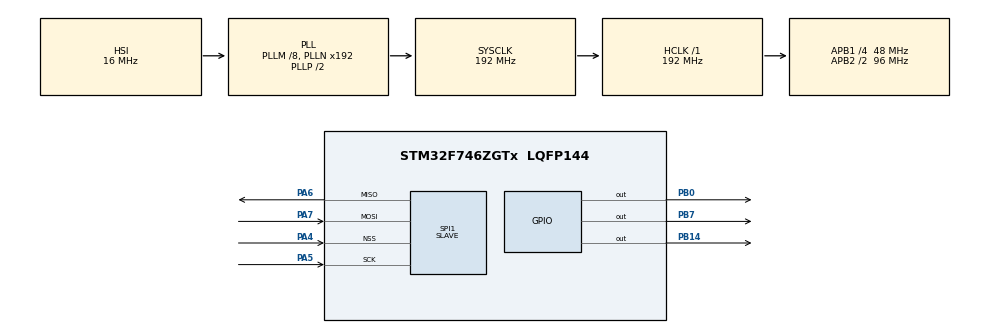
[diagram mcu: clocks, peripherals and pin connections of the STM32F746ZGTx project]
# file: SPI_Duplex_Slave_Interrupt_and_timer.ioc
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Mcu.Family=STM32F7
PA6.Mode=Full_Duplex_Slave
RCC.CortexFreq_Value=192000000
PA7.Mode=Full_Duplex_Slave
SPI1.VirtualType=VM_SLAVE
TIM1.Channel-Output\ Compare1\ No\ Output=TIM_CHANNEL_1
SPI1.CLKPhase=SPI_PHASE_2EDGE
RCC.APB1CLKDivider=RCC_HCLK_DIV4
RCC.SYSCLKSource=RCC_SYSCLKSOURCE_PLLCLK
ProjectManager.StackSize=0x400
VP_TIM1_VS_no_output1.Mode=Output Compare1 No Output
TIM1.Prescaler=192-1
PA4.Mode=NSS_Signal_Hard_Input
ProjectManager.TargetToolchain=STM32CubeIDE
SPI1.Direction=SPI_DIRECTION_2LINES
RCC.HCLKFreq_Value=192000000
RCC.APB2TimFreq_Value=192000000
RCC.USBFreq_Value=192000000
RCC.LSE_VALUE=32768
RCC.AHBFreq_Value=192000000
PB14.Signal=GPIO_Output
PA5.Signal=SPI1_SCK
RCC.HSE_VALUE=25000000
board=custom
RCC.VCOOutputFreq_Value=384000000
NVIC.SPI1_IRQn=true\:0\:0\:false\:false\:true\:true\:true
RCC.APB2Freq_Value=96000000
SPI1.Mode=SPI_MODE_SLAVE
SPI1.DataSize=SPI_DATASIZE_8BIT
PB7.Signal=GPIO_Output
SPI1.VirtualNSS=VM_NSSHARD
Mcu.Name=STM32F746ZGTx
VP_TIM1_VS_ClockSourceINT.Mode=Internal
NVIC.TIM1_CC_IRQn=true\:1\:0\:true\:false\:true\:true\:true
PA4.Signal=SPI1_NSS
RCC.SYSCLKFreq_VALUE=192000000
Mcu.Package=LQFP144
PA6.Signal=SPI1_MISO
TIM1.Pulse-Output\ Compare1\ No\ Output=1
ProjectManager.HeapSize=0x200
RCC.HSI_VALUE=16000000
NVIC.PriorityGroup=NVIC_PRIORITYGROUP_4
RCC.APB2CLKDivider=RCC_HCLK_DIV2
RCC.PLLM=8
RCC.APB1TimFreq_Value=96000000
RCC.APB1Freq_Value=48000000
PB0.Signal=GPIO_Output
PA5.Mode=Full_Duplex_Slave
PA7.Signal=SPI1_MOSI

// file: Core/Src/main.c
/* USER CODE BEGIN Header */
/**
  ******************************************************************************
  * @file           : main.c
  * @brief          : Main program body
  ******************************************************************************
  * @attention
  *
  * <h2><center>&copy; Copyright (c) 2021 STMicroelectronics.
  * All rights reserved.</center></h2>
  *
  * This software component is licensed by ST under BSD 3-Clause license,
  * the "License"; You may not use this file except in compliance with the
  * License. You may obtain a copy of the License at:
  *                        opensource.org/licenses/BSD-3-Clause
  *
  ******************************************************************************
  */
/* USER CODE END Header */
#include "main.h"

SPI_HandleTypeDef hspi1;

TIM_HandleTypeDef htim1;

/* USER CODE BEGIN PV */
uint8_t tx_buf[7] = {0};
uint8_t rx_buf[7] = {0};
/* USER CODE END PV */

void SystemClock_Config(void);
static void MX_GPIO_Init(void);
static void MX_SPI1_Init(void);
static void MX_TIM1_Init(void);
/* USER CODE BEGIN PFP */
void HAL_SPI_TxRxCpltCallback(SPI_HandleTypeDef *hspi){
	HAL_GPIO_TogglePin(GPIOB, GPIO_PIN_7);
	HAL_SPI_TransmitReceive_IT(&hspi1, tx_buf, rx_buf, 7);
}
void HAL_SPI_ErrorCallback(SPI_HandleTypeDef *hspi){
	HAL_GPIO_WritePin(GPIOB, GPIO_PIN_14, 1);
}

void HAL_TIM_OC_DelayElapsedCallback(TIM_HandleTypeDef * htim){
	HAL_GPIO_TogglePin(GPIOB, GPIO_PIN_0);
	__HAL_TIM_SET_COUNTER(&htim1, 0);
}
/* USER CODE END PFP */

int main(void)
{

  /* MCU Configuration--------------------------------------------------------*/

  /* Reset of all peripherals, Initializes the Flash interface and the Systick. */
  HAL_Init();

  /* Configure the system clock */
  SystemClock_Config();

  /* Initialize all configured peripherals */
  MX_GPIO_Init();
  MX_SPI1_Init();
  MX_TIM1_Init();
  /* USER CODE BEGIN 2 */
  tx_buf[0] = 0x68;
  tx_buf[1] = 0x69;
  HAL_SPI_TransmitReceive_IT(&hspi1, tx_buf, rx_buf, 7);
  HAL_TIM_OC_Start_IT(&htim1, TIM_CHANNEL_1);

  /* USER CODE END 2 */

  /* Infinite loop */
  while (1)
  {

    /* USER CODE BEGIN 3 */
	  HAL_GPIO_TogglePin(GPIOB, GPIO_PIN_14);
	  HAL_Delay(1000);

  }
  /* USER CODE END 3 */
}

void SystemClock_Config(void)
{
  RCC_OscInitTypeDef RCC_OscInitStruct = {0};
  RCC_ClkInitTypeDef RCC_ClkInitStruct = {0};

  /** Configure the main internal regulator output voltage
  */
  __HAL_RCC_PWR_CLK_ENABLE();
  __HAL_PWR_VOLTAGESCALING_CONFIG(PWR_REGULATOR_VOLTAGE_SCALE1);
  /** Initializes the RCC Oscillators according to the specified parameters
  * in the RCC_OscInitTypeDef structure.
  */
  RCC_OscInitStruct.OscillatorType = RCC_OSCILLATORTYPE_HSI;
  RCC_OscInitStruct.HSIState = RCC_HSI_ON;
  RCC_OscInitStruct.HSICalibrationValue = RCC_HSICALIBRATION_DEFAULT;
  RCC_OscInitStruct.PLL.PLLState = RCC_PLL_ON;
  RCC_OscInitStruct.PLL.PLLSource = RCC_PLLSOURCE_HSI;
  RCC_OscInitStruct.PLL.PLLM = 8;
  RCC_OscInitStruct.PLL.PLLN = 192;
  RCC_OscInitStruct.PLL.PLLP = RCC_PLLP_DIV2;
  RCC_OscInitStruct.PLL.PLLQ = 2;
  if (HAL_RCC_OscConfig(&RCC_OscInitStruct) != HAL_OK)
  {
    Error_Handler();
  }
  /** Activate the Over-Drive mode
  */
  if (HAL_PWREx_EnableOverDrive() != HAL_OK)
  {
    Error_Handler();
  }
  /** Initializes the CPU, AHB and APB buses clocks
  */
  RCC_ClkInitStruct.ClockType = RCC_CLOCKTYPE_HCLK|RCC_CLOCKTYPE_SYSCLK
                              |RCC_CLOCKTYPE_PCLK1|RCC_CLOCKTYPE_PCLK2;
  RCC_ClkInitStruct.SYSCLKSource = RCC_SYSCLKSOURCE_PLLCLK;
  RCC_ClkInitStruct.AHBCLKDivider = RCC_SYSCLK_DIV1;
  RCC_ClkInitStruct.APB1CLKDivider = RCC_HCLK_DIV4;
  RCC_ClkInitStruct.APB2CLKDivider = RCC_HCLK_DIV2;

  if (HAL_RCC_ClockConfig(&RCC_ClkInitStruct, FLASH_LATENCY_6) != HAL_OK)
  {
    Error_Handler();
  }
}

static void MX_SPI1_Init(void)
{

  /* SPI1 parameter configuration*/
  hspi1.Instance = SPI1;
  hspi1.Init.Mode = SPI_MODE_SLAVE;
  hspi1.Init.Direction = SPI_DIRECTION_2LINES;
  hspi1.Init.DataSize = SPI_DATASIZE_8BIT;
  hspi1.Init.CLKPolarity = SPI_POLARITY_LOW;
  hspi1.Init.CLKPhase = SPI_PHASE_2EDGE;
  hspi1.Init.NSS = SPI_NSS_HARD_INPUT;
  hspi1.Init.FirstBit = SPI_FIRSTBIT_MSB;
  hspi1.Init.TIMode = SPI_TIMODE_DISABLE;
  hspi1.Init.CRCCalculation = SPI_CRCCALCULATION_DISABLE;
  hspi1.Init.CRCPolynomial = 7;
  hspi1.Init.CRCLength = SPI_CRC_LENGTH_DATASIZE;
  hspi1.Init.NSSPMode = SPI_NSS_PULSE_DISABLE;
  if (HAL_SPI_Init(&hspi1) != HAL_OK)
  {
    Error_Handler();
  }

}

static void MX_TIM1_Init(void)
{

  TIM_ClockConfigTypeDef sClockSourceConfig = {0};
  TIM_MasterConfigTypeDef sMasterConfig = {0};
  TIM_OC_InitTypeDef sConfigOC = {0};
  TIM_BreakDeadTimeConfigTypeDef sBreakDeadTimeConfig = {0};

  htim1.Instance = TIM1;
  htim1.Init.Prescaler = 192-1;
  htim1.Init.CounterMode = TIM_COUNTERMODE_UP;
  htim1.Init.Period = 65535;
  htim1.Init.ClockDivision = TIM_CLOCKDIVISION_DIV1;
  htim1.Init.RepetitionCounter = 0;
  htim1.Init.AutoReloadPreload = TIM_AUTORELOAD_PRELOAD_DISABLE;
  if (HAL_TIM_Base_Init(&htim1) != HAL_OK)
  {
    Error_Handler();
  }
  sClockSourceConfig.ClockSource = TIM_CLOCKSOURCE_INTERNAL;
  if (HAL_TIM_ConfigClockSource(&htim1, &sClockSourceConfig) != HAL_OK)
  {
    Error_Handler();
  }
  if (HAL_TIM_OC_Init(&htim1) != HAL_OK)
  {
    Error_Handler();
  }
  sMasterConfig.MasterOutputTrigger = TIM_TRGO_RESET;
  sMasterConfig.MasterOutputTrigger2 = TIM_TRGO2_RESET;
  sMasterConfig.MasterSlaveMode = TIM_MASTERSLAVEMODE_DISABLE;
  if (HAL_TIMEx_MasterConfigSynchronization(&htim1, &sMasterConfig) != HAL_OK)
  {
    Error_Handler();
  }
  sConfigOC.OCMode = TIM_OCMODE_TIMING;
  sConfigOC.Pulse = 10;
  sConfigOC.OCPolarity = TIM_OCPOLARITY_HIGH;
  sConfigOC.OCNPolarity = TIM_OCNPOLARITY_HIGH;
  sConfigOC.OCFastMode = TIM_OCFAST_DISABLE;
  sConfigOC.OCIdleState = TIM_OCIDLESTATE_RESET;
  sConfigOC.OCNIdleState = TIM_OCNIDLESTATE_RESET;
  if (HAL_TIM_OC_ConfigChannel(&htim1, &sConfigOC, TIM_CHANNEL_1) != HAL_OK)
  {
    Error_Handler();
  }
  sBreakDeadTimeConfig.OffStateRunMode = TIM_OSSR_DISABLE;
  sBreakDeadTimeConfig.OffStateIDLEMode = TIM_OSSI_DISABLE;
  sBreakDeadTimeConfig.LockLevel = TIM_LOCKLEVEL_OFF;
  sBreakDeadTimeConfig.DeadTime = 0;
  sBreakDeadTimeConfig.BreakState = TIM_BREAK_DISABLE;
  sBreakDeadTimeConfig.BreakPolarity = TIM_BREAKPOLARITY_HIGH;
  sBreakDeadTimeConfig.BreakFilter = 0;
  sBreakDeadTimeConfig.Break2State = TIM_BREAK2_DISABLE;
  sBreakDeadTimeConfig.Break2Polarity = TIM_BREAK2POLARITY_HIGH;
  sBreakDeadTimeConfig.Break2Filter = 0;
  sBreakDeadTimeConfig.AutomaticOutput = TIM_AUTOMATICOUTPUT_DISABLE;
  if (HAL_TIMEx_ConfigBreakDeadTime(&htim1, &sBreakDeadTimeConfig) != HAL_OK)
  {
    Error_Handler();
  }

}

static void MX_GPIO_Init(void)
{
  GPIO_InitTypeDef GPIO_InitStruct = {0};

  /* GPIO Ports Clock Enable */
  __HAL_RCC_GPIOA_CLK_ENABLE();
  __HAL_RCC_GPIOB_CLK_ENABLE();

  /*Configure GPIO pin Output Level */
  HAL_GPIO_WritePin(GPIOB, GPIO_PIN_0|GPIO_PIN_14|GPIO_PIN_7, GPIO_PIN_RESET);

  /*Configure GPIO pins : PB0 PB14 PB7 */
  GPIO_InitStruct.Pin = GPIO_PIN_0|GPIO_PIN_14|GPIO_PIN_7;
  GPIO_InitStruct.Mode = GPIO_MODE_OUTPUT_PP;
  GPIO_InitStruct.Pull = GPIO_NOPULL;
  GPIO_InitStruct.Speed = GPIO_SPEED_FREQ_LOW;
  HAL_GPIO_Init(GPIOB, &GPIO_InitStruct);

}

void Error_Handler(void)
{
  __disable_irq();
  while (1)
  {
  }
}

/************************ (C) COPYRIGHT STMicroelectronics *****END OF FILE****/
